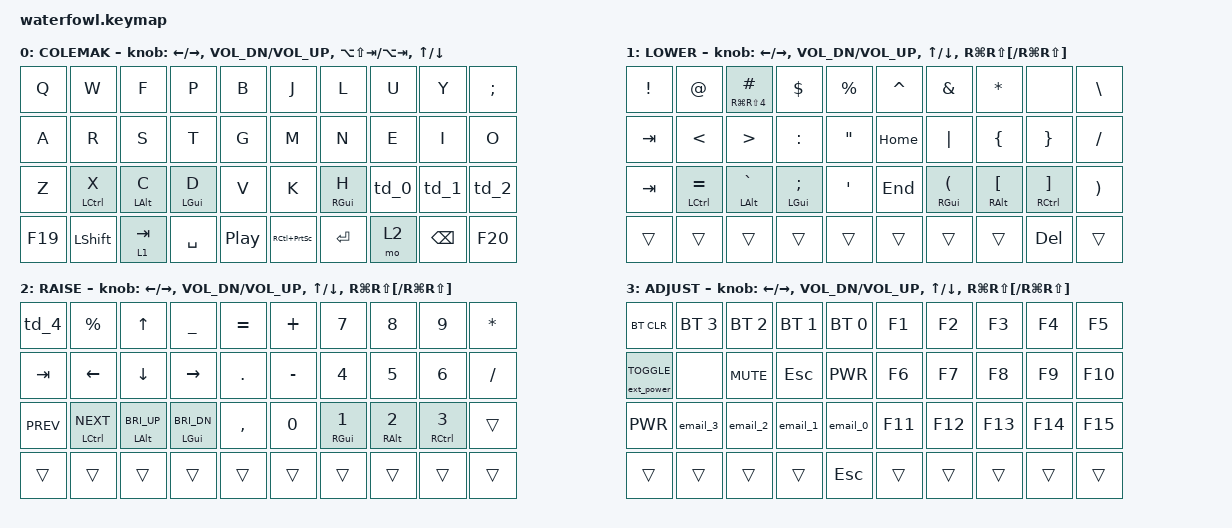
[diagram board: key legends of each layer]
/*
 * Copyright (c) 2022 The ZMK Contributors
 *
 * SPDX-License-Identifier: MIT
 */

#include <behaviors.dtsi>
#include <dt-bindings/zmk/keys.h>
#include <dt-bindings/zmk/bt.h>
#include <dt-bindings/zmk/ext_power.h>

/* Layers */
#define BASE 0
#define LOWER 1
#define RAISE 2
#define ADJUST 3

/{
// ===== COMBOS =====
	combos {
            compatible = "zmk,combos";
            combo_esc {
                timeout-ms = <50>;
                key-positions = <0 1>;
                bindings = <&kp ESC>;
            };
            combo_mute {
                timeout-ms = <50>;
                key-positions = <10 20>;
                bindings = <&kp C_MUTE>;
            };
	    combo_sleep {
                timeout-ms = <50>;
                key-positions = <4 5>;
                bindings = <&kp C_PWR>;
            };
		
        }; // Place new combos above this
	
	
// ===== CONDITIONAL LAYERS ===== 
	conditional_layers {
	    compatible = "zmk,conditional-layers";
	    adjust_layer {
	        if-layers = <LOWER RAISE>;
		then-layer = <ADJUST>;
	    };
	};  
	    
	    
// ===== MACROS ===== (DISABLED BECAUSE ENCODERS)
	    macros {
	        email_0: email_0 {
                    compatible = "zmk,behavior-macro";
                    label = "type_email_0";
                    #binding-cells = <0>;
                    wait-ms = <30>;
                    tap-ms = <40>;
                    bindings = <
			&kp H &kp E &kp N &kp D &kp R &kp I &kp K 
			&kp DOT
			&kp H &kp I &kp L &kp L &kp E &kp B &kp R &kp E &kp C &kp H &kp T
                        &kp AT_SIGN
                        &kp J &kp A &kp C &kp O &kp B &kp S
                        &kp DOT
                        &kp C &kp O &kp M
                    >;
                };
		email_1: email_1 {
                    compatible = "zmk,behavior-macro";
                    label = "type_email_1";
                    #binding-cells = <0>;
                    wait-ms = <30>;
                    tap-ms = <40>;
                    bindings = <
                        &kp D &kp O &kp C &kp K &kp E &kp T &kp T &kp J
                        &kp AT_SIGN
                        &kp B &kp A &kp I &kp S &kp D
                        &kp DOT
                        &kp N &kp E &kp T
                    >;
                };
		email_2: email_2 {
                    compatible = "zmk,behavior-macro";
                    label = "type_email_2";
                    #binding-cells = <0>;
                    wait-ms = <30>;
                    tap-ms = <40>;
                    bindings = <
                        &kp J  &kp D &kp O &kp C &kp K &kp E &kp T &kp T
                        &kp AT_SIGN
                        &kp B &kp A &kp Y &kp C &kp I &kp T &kp Y &kp M &kp I
                        &kp DOT
                        &kp O &kp R &kp G
                    >;
                };
		email_3: email_3 {
                    compatible = "zmk,behavior-macro";
                    label = "type_email_3";
                    #binding-cells = <0>;
                    wait-ms = <30>;
                    tap-ms = <40>;
                    bindings = <
                        &kp J  &kp D &kp O &kp C &kp K &kp E &kp T &kp T &kp N3
                        &kp AT_SIGN
                        &kp G &kp A &kp T &kp E &kp C &kp H
                        &kp DOT
                        &kp E &kp D &kp U
                    >;
                };
                //next_tab: next_tab {
                //    label = "Next Tab";
                //    compatible = "zmk,behavior-macro";
                //    #binding-cells = <0>;
                //    bindings
                //        = <&macro_press &kp RGUI &kp RSHIFT>
                //        , <&macro_tap &kp RBKT>
                //        , <&macro_release RGUI &kp RSHIFT>
                //        ;
                //};
                //prev_tab: prev_tab {
                //    label = "Previous Tab";
                //    compatible = "zmk,behavior-macro";
                //    #binding-cells = <0>;
                //    bindings
                //        = <&macro_press &kp RGUI &kp RSHIFT>
                //        , <&macro_tap &kp LBKT>
                //        , <&macro_release RGUI &kp RSHIFT>
                //        ;
                //    };
                };
	    
	    
// ===== TAP DANCES AND OTHER BEHAVIORS =====
	    behaviors {
	    // ===== DEFINES TAP TERM AND TYPE FOR MT =====
               hm: homerow_mods {
                    compatible = "zmk,behavior-hold-tap";
                    label = "HOMEROW_MODS";
                    #binding-cells = <2>;
                    tapping-term-ms = <180>;
                    quick-tap-ms = <0>;
                    flavor = "tap-preferred";
                    bindings = <&kp>, <&kp>;
                };	
	    // ===== TAP DANCES =====
                td_0: tap_dance_0 {
                    compatible = "zmk,behavior-tap-dance";
                    label = "ALT_COMMA_MINUS";
                    #binding-cells = <0>;
                    tapping-term-ms = <200>;
                    bindings = <&hm RALT COMMA>, <&kp MINUS>;
                };
                td_1: tap_dance_1 {
                    compatible = "zmk,behavior-tap-dance";
                    label = "CONTROL_DOT_EXCLAIM";
                    #binding-cells = <0>;
                    tapping-term-ms = <200>;
                    bindings = <&hm RCTRL DOT>, <&kp EXCL>;
                };
                td_2: tap_dance_2 {
                    compatible = "zmk,behavior-tap-dance";
                    label = "FORWARD_SLASH_UNDERSCORE";
                    #binding-cells = <0>;
                    tapping-term-ms = <200>;
                    bindings = <&kp FSLH>, <&kp UNDER>;
                };
		//td_3: tap_dance_3 {
                //    compatible = "zmk,behavior-tap-dance";
                //    label = "TAP_DANCE_SHIFT_LEFT";
                //    #binding-cells = <0>;
                //    tapping-term-ms = <200>;
                //    bindings = <&kp LEFT_SHIFT>, <&caps_word>, <&kp CAPSLOCK>;
                //};
                td_4: tap_dance_4 {
                    compatible = "zmk,behavior-tap-dance";
                    label = "Q_W_H";
                    #binding-cells = <0>;
                    tapping-term-ms = <200>;
                    bindings = <&hm Q W>, <&kp H>;
                };
            };
	    
	    
// ===== KEYMAP =====
	keymap {
		compatible = "zmk,keymap";
default_layer {
		label = " COLEMAK";
/* BASE
 *
 * ,----------------------------------.                      ,----------------------------------.
 * |   Q  |   W  |   F  |   P  |   G  |                      |   J  |   L  |   U  |   Y  |   ;  |
 * |------+------+------+------+------|                      |------+------+------+------+------|
 * |   A  |   R  |   S  |   T  |   D  |                      |   H  |   N  |   E  |   I  |   O  |
 * |------+------+------+------+------|  ,-----.    ,-----.  |------+------+------+------+------|
 * |   Z  |   X  |   C  |   V  |   B  |  | PP  |    | POW |  |   K  |   M  |   ,  |   .  |   /  |
 * `----------------------------------'  `-----'    `-----'  `----------------------------------'
 *          ,-----.   ,--------------------.            ,--------------------.   ,-----. 
 *          | CAP |   | SHIFT | MO1 | SPC  |            |  ENTER | BS | RCTR |   | F5  |	
 *          `-----'   `--------------------'            `--------------------'   `-----'
 */
			bindings = <
	&kp Q	  &kp W		 &kp F	     &kp P       &kp B		&kp J	    &kp L	&kp U  &kp Y	 &kp SEMICOLON
	&kp A	  &kp R	         &kp S	     &kp T	 &kp G		&kp M	    &kp N	&kp E  &kp I	 &kp O
	&kp Z	  &hm LCTRL X	 &hm LALT C  &hm LGUI D	 &kp V		&kp K	    &hm RGUI H  &td_0  &td_1   	 &td_2
	&kp F19  &kp LEFT_SHIFT &lt 1 TAB   &kp SPACE	 &kp C_PP	&kp RC(PSCRN)	    &kp ENTER	&mo 2  &kp BSPC	 &kp F20
			>;

			sensor-bindings = <
				&inc_dec_kp LEFT RIGHT 
				&inc_dec_kp C_VOL_DN C_VOL_UP
				&inc_dec_kp LA(LS(TAB)) LA(TAB)
				&inc_dec_kp UP DOWN
			>;
		};
lower_layer {
            	label = " LOWER";
			bindings = <
	&kp EXCL  &kp AT	   &mt RG(RS(N4)) HASH &kp DLLR	      &kp PRCNT	 &kp CARET  &kp AMPS       &kp STAR	  &none		&kp BSLH
	&kp TAB	  &kp LT	   &kp GT	       &kp COLON      &kp DQT	 &kp HOME   &kp PIPE       &kp LBRC       &kp RBRC      &kp FSLH
	&kp TAB	  &hm LCTRL EQUAL  &hm LALT GRAVE      &hm LGUI SEMI  &kp SQT	 &kp END    &hm RGUI LPAR  &hm RALT LBKT  &hm RCTL RBKT &kp RPAR
	&trans    &trans	   &trans      	       &trans  	      &trans     &trans     &trans  	   &trans   	  &kp DEL  	&trans
			>;

			sensor-bindings = <
				&inc_dec_kp LEFT RIGHT 
				&inc_dec_kp C_VOL_DN C_VOL_UP
				&inc_dec_kp UP DOWN
				&inc_dec_kp RG(RS(LBKT)) RG(RS(RBKT))
			>;
		};
raise_layer {
            	label = " RAISE";
			bindings = <
	&td_4	    &kp PRCNT	      &kp UP		 &kp UNDER	    &kp EQUAL  &kp PLUS   &kp N7       &kp N8	    &kp N9        &kp STAR
	&kp TAB	    &kp LEFT          &kp DOWN           &kp RIGHT          &kp DOT    &kp MINUS  &kp N4       &kp N5	    &kp N6	  &kp FSLH
	&kp C_PREV  &hm LCTRL C_NEXT  &hm LALT C_BRI_UP	 &hm LGUI C_BRI_DN  &kp COMMA  &kp N0	  &hm RGUI N1  &hm RALT N2  &hm RCTRL N3  &trans
    	&trans      &trans	      &trans      	 &trans  	    &trans     &trans  	  &trans       &trans       &trans  	  &trans
			>;

			sensor-bindings = <
				&inc_dec_kp LEFT RIGHT 
				&inc_dec_kp C_VOL_DN C_VOL_UP
				&inc_dec_kp UP DOWN
				&inc_dec_kp RG(RS(LBKT)) RG(RS(RBKT))
			>;
		};
		adjust_layer {
            	label = " ADJUST";
			bindings = <
	&bt BT_CLR                      &bt BT_SEL 3 &bt BT_SEL 2  &bt BT_SEL 1  &bt BT_SEL 0 	&kp F1  &kp F2	&kp F3  &kp F4  &kp F5
	&ext_power EXT_POWER_TOGGLE_CMD	&none	     &kp C_MUTE    &kp ESC	 &kp C_PWR	&kp F6	&kp F7	&kp F8	&kp F9	&kp F10
	&kp C_PWR	                &email_3     &email_2      &email_1	 &email_0       &kp F11 &kp F12	&kp F13 &kp F14 &kp F15
	&trans               		&trans	     &trans        &trans        &kp ESC      	&trans	&trans	&trans 	&trans	&trans
			>;

			sensor-bindings = <
				&inc_dec_kp LEFT RIGHT 
				&inc_dec_kp C_VOL_DN C_VOL_UP
				&inc_dec_kp UP DOWN
				&inc_dec_kp RG(RS(LBKT)) RG(RS(RBKT))
			>;
		};
// ===== POST FILE CLOSING =====


	};
};
